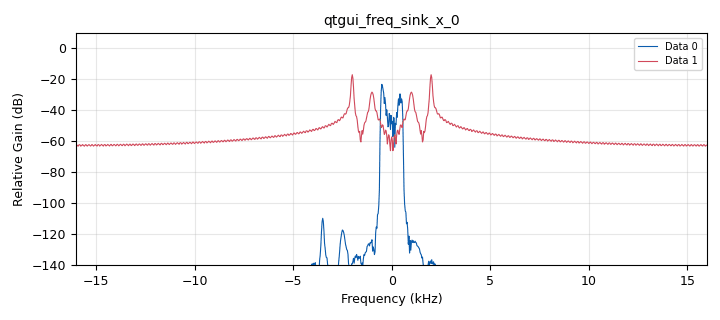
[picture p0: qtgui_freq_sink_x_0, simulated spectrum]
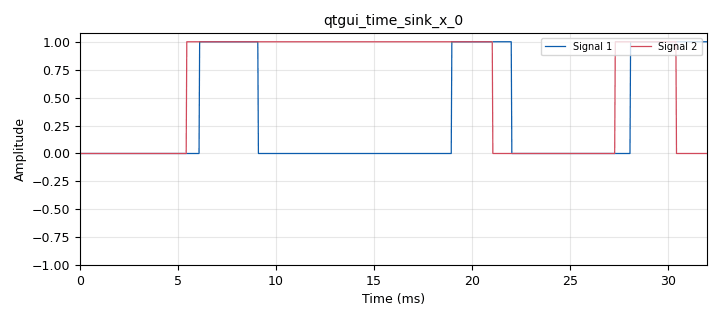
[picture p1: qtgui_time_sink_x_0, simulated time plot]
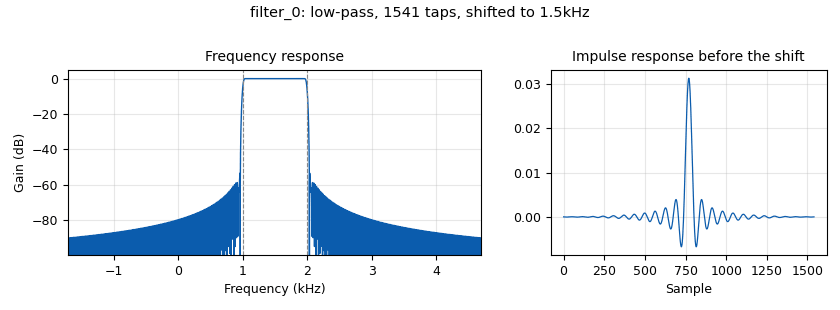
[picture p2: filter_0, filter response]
options:
  parameters:
    generate_options: qt_gui
    id: fsk
    output_language: python
    title: Not titled yet
  states: {}

blocks:
- name: delay
  id: variable_qtgui_range
  parameters:
    label: Delay
    orient: Qt.Horizontal
    start: '0'
    step: '1'
    stop: '200'
    value: '50'
  states: {}
- name: samp_rate
  id: variable
  parameters:
    value: '32000'
  states: {}
- name: taps
  id: variable_low_pass_filter_taps
  parameters:
    cutoff_freq: '500'
    gain: '1.0'
    samp_rate: samp_rate
    width: '50'
    win: firdes.WIN_HAMMING
  states: {}
- name: analog_const_source_x_0
  id: analog_const_source_x
  parameters:
    const: '1'
    type: float
  states: {}
- name: analog_quadrature_demod_cf_0
  id: analog_quadrature_demod_cf
  parameters:
    gain: '10'
  states: {}
- name: analog_random_source_x_0
  id: analog_random_source_x
  parameters:
    max: '2'
    min: '0'
    num_samps: '1000'
    repeat: 'True'
    type: byte
  states: {}
- name: analog_sig_source_x_0
  id: analog_sig_source_x
  parameters:
    amp: '1'
    freq: '2000'
    offset: '0'
    phase: '0'
    samp_rate: samp_rate
    type: float
    waveform: analog.GR_COS_WAVE
  states: {}
- name: analog_sig_source_x_0_0
  id: analog_sig_source_x
  parameters:
    amp: '1'
    freq: '1000'
    offset: '0'
    phase: '0'
    samp_rate: samp_rate
    type: float
    waveform: analog.GR_COS_WAVE
  states: {}
- name: blocks_add_xx_0
  id: blocks_add_xx
  parameters:
    type: float
  states: {}
- name: blocks_char_to_float_0
  id: blocks_char_to_float
  parameters:
    scale: '1'
  states: {}
- name: blocks_char_to_float_1
  id: blocks_char_to_float
  parameters:
    scale: '1'
  states: {}
- name: blocks_delay_0
  id: blocks_delay
  parameters:
    delay: int(delay)
    type: float
  states: {}
- name: blocks_float_to_complex_0
  id: blocks_float_to_complex
  parameters: {}
  states: {}
- name: blocks_multiply_xx_0
  id: blocks_multiply_xx
  parameters:
    type: float
  states: {}
- name: blocks_multiply_xx_0_0
  id: blocks_multiply_xx
  parameters:
    type: float
  states: {}
- name: blocks_repeat_0
  id: blocks_repeat
  parameters:
    interp: '100'
    type: byte
  states: {}
- name: blocks_sub_xx_0
  id: blocks_sub_xx
  parameters:
    type: float
  states: {}
- name: blocks_throttle_0
  id: blocks_throttle
  parameters:
    samples_per_second: samp_rate
    type: float
  states: {}
- name: digital_binary_slicer_fb_0
  id: digital_binary_slicer_fb
  parameters: {}
  states: {}
- name: filter_0
  id: freq_xlating_fir_filter_xxx
  parameters:
    center_freq: '1500'
    decim: '1'
    samp_rate: samp_rate
    taps: taps
    type: fcf
  states: {}
- name: qtgui_freq_sink_x_0
  id: qtgui_freq_sink_x
  parameters:
    bw: samp_rate
    fc: '0'
    fftsize: '1024'
    nconnections: '2'
    type: complex
    wintype: firdes.WIN_BLACKMAN_hARRIS
  states: {}
- name: qtgui_time_sink_x_0
  id: qtgui_time_sink_x
  parameters:
    nconnections: '2'
    size: '1024'
    srate: samp_rate
    type: float
  states: {}

connections:
- [analog_const_source_x_0, '0', blocks_sub_xx_0, '0']
- [analog_quadrature_demod_cf_0, '0', digital_binary_slicer_fb_0, '0']
- [analog_random_source_x_0, '0', blocks_repeat_0, '0']
- [analog_sig_source_x_0, '0', blocks_multiply_xx_0, '0']
- [analog_sig_source_x_0_0, '0', blocks_multiply_xx_0_0, '1']
- [blocks_add_xx_0, '0', blocks_throttle_0, '0']
- [blocks_char_to_float_0, '0', blocks_delay_0, '0']
- [blocks_char_to_float_0, '0', blocks_multiply_xx_0, '1']
- [blocks_char_to_float_0, '0', blocks_sub_xx_0, '1']
- [blocks_char_to_float_1, '0', qtgui_time_sink_x_0, '0']
- [blocks_delay_0, '0', qtgui_time_sink_x_0, '1']
- [blocks_float_to_complex_0, '0', qtgui_freq_sink_x_0, '1']
- [blocks_multiply_xx_0, '0', blocks_add_xx_0, '0']
- [blocks_multiply_xx_0_0, '0', blocks_add_xx_0, '1']
- [blocks_repeat_0, '0', blocks_char_to_float_0, '0']
- [blocks_sub_xx_0, '0', blocks_multiply_xx_0_0, '0']
- [blocks_throttle_0, '0', blocks_float_to_complex_0, '0']
- [blocks_throttle_0, '0', filter_0, '0']
- [digital_binary_slicer_fb_0, '0', blocks_char_to_float_1, '0']
- [filter_0, '0', analog_quadrature_demod_cf_0, '0']
- [filter_0, '0', qtgui_freq_sink_x_0, '0']

metadata:
  file_format: 1
